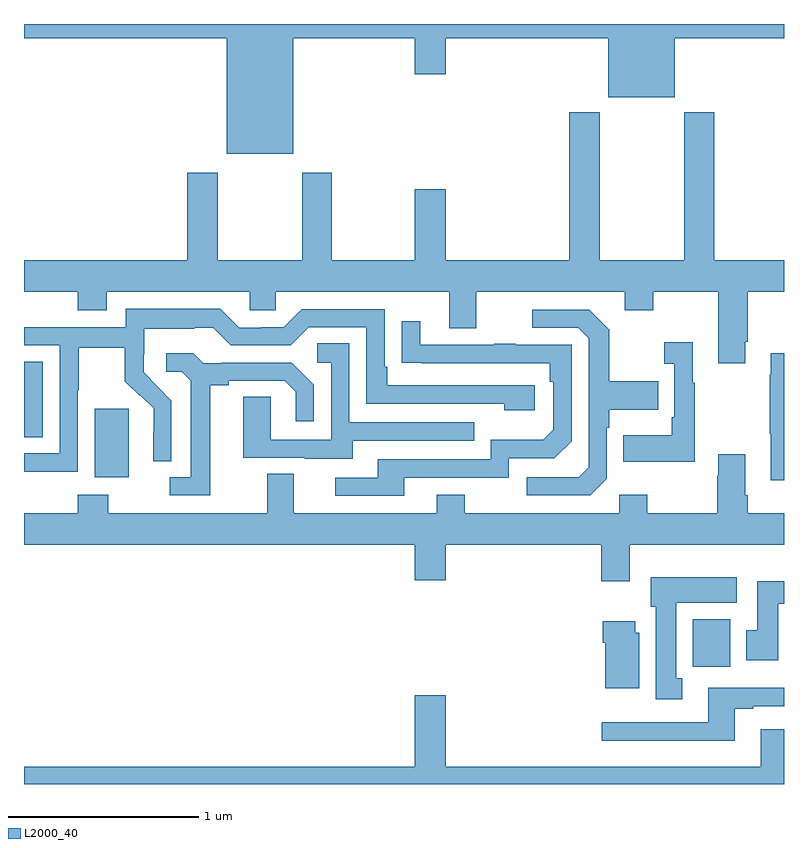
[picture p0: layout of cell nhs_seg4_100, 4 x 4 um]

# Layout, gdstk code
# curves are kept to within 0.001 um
import gdstk
lib = gdstk.Library(unit=1e-6, precision=1e-09)
def R(c, l, rs):  # rectangles x0, y0, x1, y1
    for r in rs: c.add(gdstk.rectangle(r[:2], r[2:], *l))
def P(c, l, *ps):  # polygons
    for p in ps: c.add(gdstk.Polygon(p, *l))
L2000_40 = (2000, 40)

nhs_seg4_100 = lib.new_cell('nhs_seg4_100')
R(nhs_seg4_100, L2000_40, [(118.521,789.516,118.717,789.766), (115.373,790.514,115.552,790.875), (115,790.726,115.099,791.123)])
P(nhs_seg4_100, L2000_40, [(116.416,792.824),(117.056,792.824),(117.056,792.636),(117.22,792.636),(117.22,792.824),(118.076,792.824),(118.076,792.515),(118.426,792.515),(118.426,792.824),(119,792.824),(119,792.9),(115,792.9),(115,792.824),(116.066,792.824),(116.066,792.218),(116.416,792.218)],
  [(118.795,791.227),(118.808,791.227),(118.808,791.492),(119,791.492),(119,791.656),(118.634,791.656),(118.634,792.436),(118.474,792.436),(118.474,791.656),(118.029,791.656),(118.029,792.436),(117.869,792.436),(117.869,791.656),(117.22,791.656),(117.22,792.031),(117.056,792.031),(117.056,791.656),(116.619,791.656),(116.619,792.118),(116.464,792.118),(116.464,791.656),(116.019,791.656),(116.019,792.118),(115.859,792.118),(115.859,791.656),(115,791.656),(115,791.492),(115.283,791.492),(115.283,791.393),(115.435,791.393),(115.435,791.492),(116.187,791.492),(116.187,791.394),(116.325,791.394),(116.325,791.492),(117.239,791.492),(117.239,791.298),(117.379,791.298),(117.379,791.492),(118.163,791.492),(118.163,791.393),(118.311,791.393),(118.311,791.492),(118.655,791.492),(118.655,791.115),(118.795,791.115)],
  [(115.284,790.972),(115.287,790.972),(115.287,791.196),(115.531,791.196),(115.531,791.021),(115.608,790.944),(115.611,790.947),(115.682,790.877),(115.682,790.754),(115.68,790.754),(115.68,790.6),(115.776,790.6),(115.776,790.918),(115.63,791.066),(115.63,791.163),(115.632,791.163),(115.632,791.297),(115.895,791.297),(115.895,791.301),(115.995,791.301),(116.088,791.208),(116.403,791.208),(116.499,791.304),(116.802,791.304),(116.802,790.902),(117.527,790.902),(117.527,790.868),(117.688,790.868),(117.688,790.998),(116.911,790.998),(116.911,791.095),(116.898,791.095),(116.898,791.4),(116.463,791.4),(116.367,791.304),(116.249,791.304),(116.249,791.301),(116.133,791.301),(116.033,791.401),(115.536,791.401),(115.536,791.304),(115,791.304),(115,791.208),(115.188,791.208),(115.188,790.641),(115,790.641),(115,790.543),(115.284,790.543)],
  [(118.068,790.506),(118.068,790.775),(118.081,790.775),(118.081,790.871),(118.337,790.871),(118.337,791.019),(118.081,791.019),(118.081,791.291),(117.975,791.397),(117.675,791.397),(117.675,791.301),(117.918,791.301),(117.972,791.247),(117.972,790.566),(117.921,790.515),(117.645,790.515),(117.645,790.419),(117.981,790.419)],
  [(117.001,790.512),(117.552,790.512),(117.552,790.614),(117.792,790.614),(117.882,790.704),(117.882,791.211),(117.587,791.211),(117.587,791.216),(117.475,791.216),(117.475,791.211),(117.085,791.211),(117.085,791.335),(116.989,791.335),(116.989,791.116),(117.766,791.115),(117.766,791.018),(117.786,791.018),(117.786,790.764),(117.733,790.711),(117.456,790.711),(117.456,790.608),(116.861,790.608),(116.861,790.512),(116.637,790.512),(116.637,790.416),(117.001,790.416)],
  [(118.531,791.011),(118.519,791.011),(118.519,791.224),(118.371,791.224),(118.371,791.111),(118.422,791.111),(118.422,790.831),(118.41,790.831),(118.41,790.735),(118.153,790.735),(118.153,790.595),(118.531,790.595)],
  [(116.731,790.707),(117.371,790.707),(117.371,790.803),(116.712,790.803),(116.712,791.219),(116.544,791.219),(116.544,791.118),(116.616,791.118),(116.616,790.713),(116.298,790.713),(116.298,790.937),(116.153,790.937),(116.153,790.617),(116.477,790.617),(116.477,790.613),(116.731,790.613)],
  [(115.981,791),(116.077,791),(116.077,791.022),(116.372,791.022),(116.429,790.965),(116.429,790.809),(116.526,790.809),(116.526,791.002),(116.41,791.118),(116.038,791.118),(116.038,791.115),(115.944,791.115),(115.892,791.167),(115.749,791.167),(115.749,791.07),(115.83,791.07),(115.877,791.023),(115.877,790.515),(115.767,790.515),(115.767,790.419),(115.981,790.419)],
  [(119,791.167),(118.931,791.167),(118.931,791.054),(118.924,791.054),(118.924,790.743),(118.931,790.743),(118.931,790.5),(119,790.5)],
  [(118.189,790.16),(119,790.16),(119,790.324),(118.808,790.324),(118.808,790.42),(118.795,790.42),(118.795,790.636),(118.655,790.636),(118.655,790.523),(118.648,790.523),(118.648,790.324),(118.281,790.324),(118.281,790.423),(118.134,790.423),(118.134,790.324),(117.321,790.324),(117.321,790.423),(117.173,790.423),(117.173,790.324),(116.419,790.324),(116.419,790.532),(116.279,790.532),(116.279,790.324),(115.443,790.324),(115.443,790.423),(115.283,790.423),(115.283,790.324),(115,790.324),(115,790.16),(117.056,790.16),(117.056,789.972),(117.22,789.972),(117.22,790.16),(118.037,790.16),(118.037,789.966),(118.189,789.966)],
  [(118.465,789.457),(118.432,789.457),(118.432,789.854),(118.75,789.854),(118.75,789.988),(118.298,789.988),(118.298,789.834),(118.325,789.834),(118.325,789.345),(118.465,789.345)],
  [(118.969,789.848),(119,789.848),(119,789.967),(118.859,789.967),(118.859,789.708),(118.802,789.708),(118.802,789.552),(118.969,789.552)],
  [(118.237,789.696),(118.216,789.696),(118.216,789.757),(118.046,789.757),(118.046,789.644),(118.058,789.644),(118.058,789.404),(118.237,789.404)],
  [(118.741,789.297),(118.837,789.297),(118.837,789.309),(119,789.309),(119,789.406),(118.601,789.406),(118.601,789.225),(118.041,789.225),(118.041,789.128),(118.741,789.128)],
  [(119,789.187),(118.877,789.187),(118.877,788.992),(117.22,788.992),(117.22,789.367),(117.056,789.367),(117.056,788.992),(115,788.992),(115,788.9),(119,788.9)])

lib.write_gds('nhs_seg4_100.gds')
